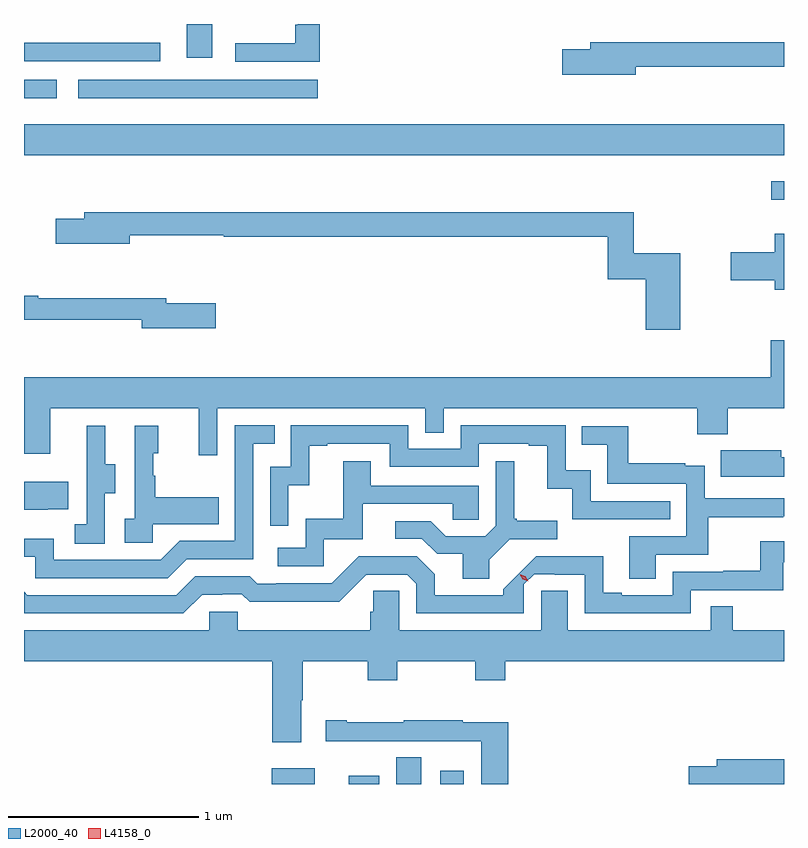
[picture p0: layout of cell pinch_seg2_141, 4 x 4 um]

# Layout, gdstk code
import gdstk
lib = gdstk.Library(unit=1e-6, precision=1e-09)
def R(c, l, rs):  # rectangles x0, y0, x1, y1
    for r in rs: c.add(gdstk.rectangle(r[:2], r[2:], *l))
def P(c, l, *ps):  # polygons
    for p in ps: c.add(gdstk.Polygon(p, *l))
L2000_40 = (2000, 40)
L4158_0 = (4158, 0)

pinch_seg2_141 = lib.new_cell('pinch_seg2_141')
R(pinch_seg2_141, L2000_40, [(1131.95,641.663,1132.177,641.746), (1132.355,641.663,1132.516,641.707), (1132.604,641.663,1132.738,641.804), (1132.838,641.663,1132.96,641.734), (1134.579,644.739,1134.646,644.836), (1130.646,644.972,1134.646,645.136), (1130.646,645.272,1130.818,645.369), (1130.931,645.272,1132.192,645.369), (1130.646,645.468,1131.364,645.565), (1131.503,645.486,1131.637,645.663)])
P(pinch_seg2_141, L2000_40, [(1132.202,645.663),(1132.086,645.663),(1132.086,645.658),(1132.074,645.658),(1132.074,645.563),(1131.759,645.563),(1131.759,645.465),(1132.202,645.465)],
  [(1133.866,645.438),(1134.646,645.438),(1134.646,645.566),(1133.627,645.566),(1133.627,645.53),(1133.478,645.53),(1133.478,645.395),(1133.866,645.395)],
  [(1134.101,644.456),(1133.855,644.456),(1133.855,644.671),(1130.963,644.671),(1130.963,644.637),(1130.814,644.637),(1130.814,644.507),(1131.202,644.507),(1131.202,644.55),(1131.698,644.55),(1131.698,644.542),(1133.719,644.542),(1133.719,644.32),(1133.918,644.32),(1133.918,644.055),(1134.101,644.055)],
  [(1134.646,644.56),(1134.596,644.56),(1134.596,644.462),(1134.366,644.462),(1134.366,644.315),(1134.596,644.315),(1134.596,644.264),(1134.646,644.264)],
  [(1131.655,644.193),(1131.394,644.193),(1131.394,644.219),(1130.72,644.219),(1130.72,644.234),(1130.646,644.234),(1130.646,644.106),(1131.266,644.106),(1131.266,644.063),(1131.655,644.063)],
  [(1131.663,643.64),(1132.758,643.64),(1132.758,643.513),(1132.854,643.513),(1132.854,643.64),(1134.19,643.64),(1134.19,643.505),(1134.35,643.505),(1134.35,643.64),(1134.646,643.64),(1134.646,643.999),(1134.575,643.999),(1134.575,643.804),(1130.646,643.804),(1130.646,643.401),(1130.785,643.401),(1130.785,643.64),(1131.566,643.64),(1131.566,643.392),(1131.663,643.392)],
  [(1131.502,642.846),(1131.852,642.846),(1131.852,643.455),(1131.965,643.455),(1131.965,643.551),(1131.756,643.551),(1131.756,642.942),(1131.465,642.942),(1131.366,642.843),(1130.802,642.843),(1130.802,642.955),(1130.646,642.955),(1130.646,642.858),(1130.706,642.858),(1130.706,642.747),(1131.403,642.747)],
  [(1132.038,643.235),(1132.148,643.235),(1132.148,643.443),(1132.243,643.443),(1132.243,643.455),(1132.572,643.455),(1132.572,643.332),(1133.04,643.332),(1133.04,643.455),(1133.303,643.455),(1133.303,643.443),(1133.399,643.443),(1133.399,643.217),(1133.532,643.217),(1133.532,643.056),(1134.047,643.056),(1134.047,643.152),(1133.628,643.152),(1133.628,643.315),(1133.496,643.315),(1133.496,643.551),(1132.944,643.551),(1132.944,643.428),(1132.668,643.428),(1132.668,643.551),(1132.05,643.551),(1132.05,643.332),(1131.942,643.332),(1131.942,643.023),(1132.038,643.023)],
  [(1131.072,643.192),(1131.127,643.192),(1131.127,643.347),(1131.073,643.347),(1131.073,643.549),(1130.975,643.549),(1130.975,643.335),(1130.976,643.335),(1130.976,643.031),(1130.913,643.031),(1130.913,642.928),(1131.072,642.928)],
  [(1131.324,643.031),(1131.671,643.031),(1131.671,643.171),(1131.337,643.171),(1131.337,643.286),(1131.327,643.286),(1131.327,643.404),(1131.352,643.404),(1131.352,643.549),(1131.228,643.549),(1131.228,643.058),(1131.177,643.058),(1131.177,642.933),(1131.324,642.933)],
  [(1133.971,642.87),(1134.248,642.87),(1134.248,643.066),(1134.641,643.066),(1134.641,643.071),(1134.646,643.071),(1134.646,643.167),(1134.228,643.167),(1134.228,643.339),(1134.125,643.339),(1134.125,643.351),(1133.827,643.351),(1133.827,643.545),(1133.581,643.545),(1133.581,643.448),(1133.716,643.448),(1133.716,643.242),(1134.132,643.242),(1134.132,642.966),(1133.831,642.966),(1133.831,642.742),(1133.971,642.742)],
  [(1134.527,643.281),(1134.646,643.281),(1134.646,643.382),(1134.631,643.382),(1134.631,643.42),(1134.313,643.42),(1134.313,643.28),(1134.527,643.28)],
  [(1133.095,642.844),(1133.202,642.951),(1133.452,642.951),(1133.452,643.048),(1133.239,643.048),(1133.239,643.06),(1133.227,643.06),(1133.227,643.363),(1133.13,643.363),(1133.13,643.023),(1133.073,642.966),(1132.867,642.966),(1132.786,643.047),(1132.599,643.047),(1132.599,642.954),(1132.74,642.954),(1132.82,642.874),(1132.955,642.874),(1132.955,642.742),(1133.095,642.742)],
  [(1132.224,642.951),(1132.429,642.951),(1132.429,643.137),(1132.903,643.137),(1132.903,643.053),(1133.04,643.053),(1133.04,643.233),(1132.471,643.233),(1132.471,643.363),(1132.327,643.363),(1132.327,643.06),(1132.128,643.06),(1132.128,642.906),(1131.981,642.906),(1131.981,642.81),(1132.224,642.81)],
  [(1130.771,643.109),(1130.879,643.109),(1130.879,643.255),(1130.646,643.255),(1130.646,643.106),(1130.771,643.106)],
  [(1131.583,642.66),(1131.69,642.66),(1131.69,642.663),(1131.793,642.663),(1131.835,642.621),(1132.068,642.621),(1132.068,642.623),(1132.304,642.623),(1132.446,642.765),(1132.662,642.765),(1132.71,642.717),(1132.71,642.561),(1133.277,642.561),(1133.277,642.714),(1133.331,642.768),(1133.439,642.768),(1133.439,642.765),(1133.598,642.765),(1133.598,642.561),(1134.156,642.561),(1134.156,642.684),(1134.643,642.684),(1134.643,642.831),(1134.646,642.831),(1134.646,642.94),(1134.522,642.94),(1134.522,642.785),(1134.325,642.785),(1134.325,642.78),(1134.06,642.78),(1134.06,642.657),(1133.791,642.657),(1133.791,642.67),(1133.695,642.67),(1133.695,642.861),(1133.342,642.861),(1133.169,642.688),(1133.169,642.657),(1132.807,642.657),(1132.807,642.767),(1132.713,642.861),(1132.407,642.861),(1132.266,642.72),(1131.973,642.72),(1131.973,642.717),(1131.874,642.717),(1131.835,642.756),(1131.546,642.756),(1131.447,642.657),(1130.664,642.657),(1130.646,642.675),(1130.646,642.561),(1131.484,642.561)],
  [(1132.105,642.104),(1132.113,642.104),(1132.113,642.308),(1132.456,642.308),(1132.456,642.209),(1132.611,642.209),(1132.611,642.308),(1133.02,642.308),(1133.02,642.209),(1133.18,642.209),(1133.18,642.308),(1134.646,642.308),(1134.646,642.472),(1134.377,642.472),(1134.377,642.599),(1134.261,642.599),(1134.261,642.472),(1133.509,642.472),(1133.509,642.68),(1133.369,642.68),(1133.369,642.472),(1132.62,642.472),(1132.62,642.68),(1132.483,642.68),(1132.483,642.57),(1132.469,642.57),(1132.469,642.472),(1131.771,642.472),(1131.771,642.57),(1131.621,642.57),(1131.621,642.472),(1130.646,642.472),(1130.646,642.308),(1131.953,642.308),(1131.953,641.883),(1132.105,641.883)],
  [(1133.195,641.988),(1132.955,641.988),(1132.955,641.998),(1132.645,641.998),(1132.645,641.988),(1132.345,641.988),(1132.345,641.998),(1132.233,641.998),(1132.233,641.888),(1132.508,641.888),(1132.508,641.889),(1132.842,641.889),(1132.842,641.888),(1133.052,641.888),(1133.052,641.663),(1133.195,641.663)],
  [(1134.646,641.792),(1134.293,641.792),(1134.293,641.756),(1134.144,641.756),(1134.144,641.663),(1134.646,641.663)])
P(pinch_seg2_141, L4158_0, [(1133.3,642.73),(1133.271,642.741),(1133.255,642.768),(1133.255,642.768),(1133.255,642.768),(1133.284,642.757),(1133.3,642.73),(1133.3,642.73)])

lib.write_gds('pinch_seg2_141.gds')
